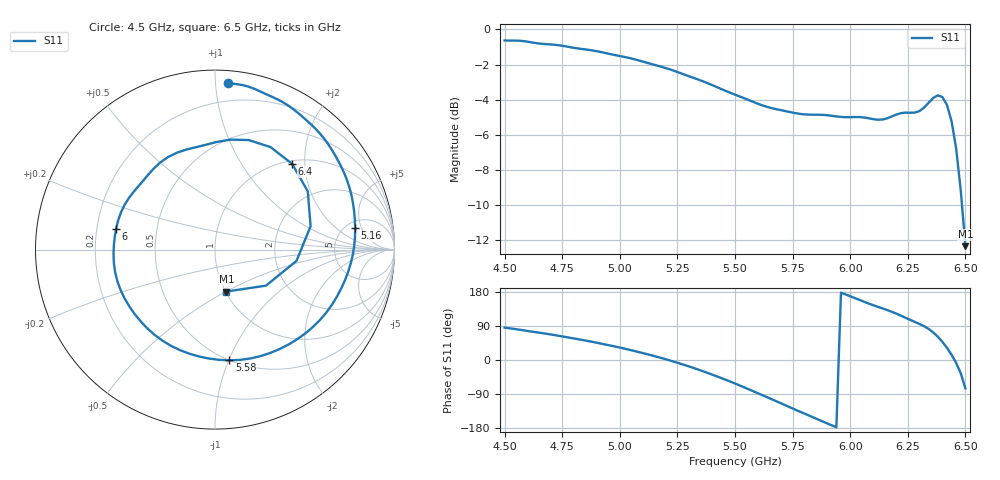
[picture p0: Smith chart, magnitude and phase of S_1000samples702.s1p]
! TOUCHSTONE file generated by CST MICROWAVE STUDIO
! Date and time: Sat Oct 29 02:12:01 2022
! Project name: L.cst
! Parameters = {Di=1.27; Epsilon_r=1.56; InnerDiameter=1.27; Length=2; Lf=10; Lg=60; OuterConductorThickness=0.2921; OuterDiameter=3.6; Wf=3; Wp=41.2; de=1.5; df=6.8; g=0.8; gx=4.35212; gy=2.33757; h=2.34; hf=1.524; px=12.6163; py=12.948; w=9.7; wx=8.26414; wy=10.6104}
! Header version: 2018
! Port assignment regex: !\s*Touchstone port\s*([0-9]+)\s*=\s*(CST MWS port|CST DS port)\s*([0-9]+|Zmin|Zmax)\s*\(\"(.*)\"\)(\s*mode\s*([0-9]+))?.*
! Touchstone port assignment:
! Touchstone port 1 = CST MWS port 1 ("")
# GHz S DB R 50
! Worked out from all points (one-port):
!   101 points, 4.5 GHz to 6.5 GHz, reference 50 ohm
!   lowest |S11| = -12.3 dB at 6.5 GHz (marker M1), VSWR 1.64, Z = 50.5 - j25.1 ohm
!   |S11| at or under -10 dB: 6.485281 GHz to end of sweep
!   S11 on the Smith chart (normalised r, x): 4.5 GHz: 0.08, +1.08; 5.16 GHz: 6.03, +3.84; 5.58 GHz: 0.50, -1.01; 6 GHz: 0.28, +0.09; 6.4 GHz: 1.06, +1.73; 6.5 GHz: 1.01, -0.50
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4.5  -0.62 85.4
4.6  -0.70 76.6
4.76  -0.95 61.2
4.88  -1.19 48.0
5  -1.51 32.8
5.08  -1.75 21.3
5.16  -2.05 8.7
5.26  -2.47 -9.2
5.38  -3.05 -33.8
5.5  -3.71 -62.0
5.58  -4.12 -82.6
5.68  -4.54 -109.0
5.76  -4.75 -130.6
5.88  -4.86 -162.0
5.94  -4.94 -177.4
6  -4.99 168.2
6.08  -5.05 149.0
6.18  -4.95 127.4
6.26  -4.73 106.0
6.32  -4.45 89.4
6.36  -3.90 73.0
6.38  -3.75 61.6
6.4  -3.84 48.0
6.42  -4.29 32.1
6.44  -5.22 13.7
6.46  -6.78 -7.9
6.48  -9.17 -35.2
6.5  -12.32 -74.9
